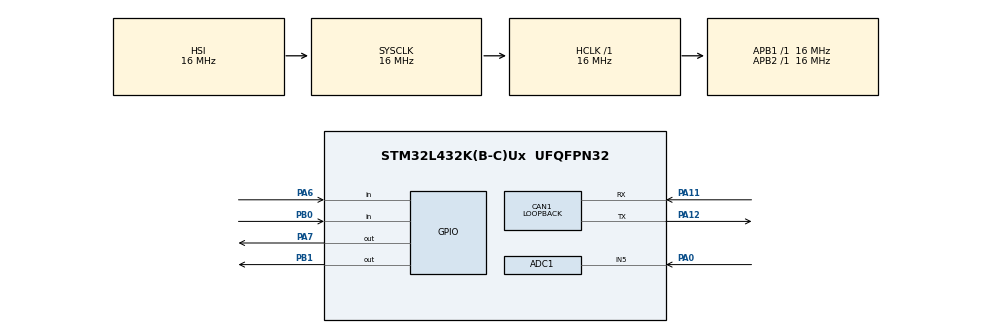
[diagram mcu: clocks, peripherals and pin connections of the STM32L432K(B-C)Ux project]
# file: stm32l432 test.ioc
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ADC1.Channel-6\#ChannelRegularConversion=ADC_CHANNEL_5
ADC1.ClockPrescaler=ADC_CLOCK_ASYNC_DIV1
ADC1.ContinuousConvMode=DISABLE
ADC1.DMAContinuousRequests=ENABLE
ADC1.EOCSelection=ADC_EOC_SINGLE_CONV
ADC1.NbrOfConversion=1
ADC1.NbrOfConversionFlag=1
ADC1.OffsetNumber-6\#ChannelRegularConversion=ADC_OFFSET_NONE
ADC1.Rank-6\#ChannelRegularConversion=1
ADC1.SamplingTime-6\#ChannelRegularConversion=ADC_SAMPLETIME_2CYCLES_5
ADC1.master=1
CAN1.CalculateTimeQuantum=1000.0
CAN1.Mode=CAN_MODE_LOOPBACK
Dma.ADC1.0.Direction=DMA_PERIPH_TO_MEMORY
Dma.ADC1.0.Instance=DMA1_Channel1
Dma.ADC1.0.MemDataAlignment=DMA_MDATAALIGN_HALFWORD
Dma.ADC1.0.MemInc=DMA_MINC_ENABLE
Dma.ADC1.0.Mode=DMA_CIRCULAR
Dma.ADC1.0.PeriphDataAlignment=DMA_PDATAALIGN_HALFWORD
Dma.ADC1.0.PeriphInc=DMA_PINC_DISABLE
Dma.ADC1.0.Priority=DMA_PRIORITY_LOW
Dma.Request0=ADC1
Mcu.Family=STM32L4
Mcu.Name=STM32L432K(B-C)Ux
Mcu.Package=UFQFPN32
NVIC.DMA1_Channel1_IRQn=true\:0\:0\:false\:false\:true\:false\:true
NVIC.PriorityGroup=NVIC_PRIORITYGROUP_4
PA0.Signal=ADCx_IN5
PA11.Mode=Master
PA11.Signal=CAN1_RX
PA12.Mode=Master
PA12.Signal=CAN1_TX
PA13\ (JTMS-SWDIO).Mode=Serial_Wire
PA13\ (JTMS-SWDIO).Signal=SYS_JTMS-SWDIO
PA14\ (JTCK-SWCLK).Mode=Serial_Wire
PA14\ (JTCK-SWCLK).Signal=SYS_JTCK-SWCLK
PA6.Signal=GPIO_Input
PA7.Signal=GPIO_Output
PB0.Signal=GPIO_Input
PB1.Signal=GPIO_Output
ProjectManager.HeapSize=0x200
ProjectManager.StackSize=0x400
ProjectManager.TargetToolchain=STM32CubeIDE
RCC.ADCCLockSelection=RCC_ADCCLKSOURCE_SYSCLK
RCC.ADCFreq_Value=16000000
RCC.AHBFreq_Value=16000000
RCC.APB1Freq_Value=16000000
RCC.APB1TimFreq_Value=16000000
RCC.APB2Freq_Value=16000000
RCC.APB2TimFreq_Value=16000000
RCC.CortexFreq_Value=16000000
RCC.HCLKFreq_Value=16000000
RCC.HSE_VALUE=8000000
RCC.HSI48_VALUE=48000000
RCC.HSI_VALUE=16000000
RCC.LSE_VALUE=32768
RCC.MSIAutoCalibration=DISABLED
RCC.MSI_VALUE=4000000
RCC.PLLSourceVirtual=RCC_PLLSOURCE_HSI
RCC.SYSCLKFreq_VALUE=16000000
RCC.SYSCLKSource=RCC_SYSCLKSOURCE_HSI
RCC.USBFreq_Value=64000000
RCC.VCOOutputFreq_Value=128000000
SH.ADCx_IN5.0=ADC1_IN5,IN5-Single-Ended
VP_LPTIM1_VS_COMP1_LPTIM.Mode=Counts_external_clock_with_synchro_01_occur2
board=custom

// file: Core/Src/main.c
/* USER CODE BEGIN Header */
/**
  ******************************************************************************
  * @file           : main.c
  * @brief          : Main program body
  ******************************************************************************
  * @attention
  *
  * <h2><center>&copy; Copyright (c) 2021 STMicroelectronics.
  * All rights reserved.</center></h2>
  *
  * This software component is licensed by ST under BSD 3-Clause license,
  * the "License"; You may not use this file except in compliance with the
  * License. You may obtain a copy of the License at:
  *                        opensource.org/licenses/BSD-3-Clause
  *
  ******************************************************************************
  */
/* USER CODE END Header */

#include "main.h"

/* USER CODE BEGIN PM */
#define ADC_BUF_SIZE 4
/* USER CODE END PM */

ADC_HandleTypeDef hadc1;
DMA_HandleTypeDef hdma_adc1;

CAN_HandleTypeDef hcan1;

LPTIM_HandleTypeDef hlptim1;

/* USER CODE BEGIN PV */
int fuseState[5];
uint16_t raw = 0;
uint16_t ADC_buffer[ADC_BUF_SIZE] = {10};
CAN_TxHeaderTypeDef TxHeader;
uint8_t TxData[8];
uint32_t TxMailbox;
CAN_RxHeaderTypeDef RxHeader;
uint8_t RxData[8];
int datacheck = 0;

CAN_FilterTypeDef canfilterconfig;

/* USER CODE END PV */

void SystemClock_Config(void);
static void MX_GPIO_Init(void);
static void MX_DMA_Init(void);
static void MX_ADC1_Init(void);
static void MX_LPTIM1_Init(void);
static void MX_CAN1_Init(void);

int main(void)
{
  /* USER CODE BEGIN 1 */
	canfilterconfig.FilterActivation = CAN_FILTER_ENABLE;
	canfilterconfig.FilterBank = 18;  // which filter bank to use from the assigned ones
	canfilterconfig.FilterFIFOAssignment = CAN_FILTER_FIFO0;
	canfilterconfig.FilterIdHigh = 0x446<<5;
	canfilterconfig.FilterIdLow = 0;
	canfilterconfig.FilterMaskIdHigh = 0x446<<5;
	canfilterconfig.FilterMaskIdLow = 0x0000;
	canfilterconfig.FilterMode = CAN_FILTERMODE_IDMASK;
	canfilterconfig.FilterScale = CAN_FILTERSCALE_32BIT;
	canfilterconfig.SlaveStartFilterBank = 20;  // how many filters to assign to the CAN1 (master can)

	HAL_CAN_ConfigFilter(&hcan1, &canfilterconfig);
  /* USER CODE END 1 */

  /* MCU Configuration--------------------------------------------------------*/

  /* Reset of all peripherals, Initializes the Flash interface and the Systick. */
  HAL_Init();

  /* USER CODE BEGIN Init */
  TxHeader.IDE = CAN_ID_STD;
  TxHeader.StdId = 0x103;
  TxHeader.RTR = CAN_RTR_DATA;
  TxHeader.DLC = 2;

  TxData[0] = 50;
  TxData[1] = 0xAA;

  /* USER CODE END Init */

  /* Configure the system clock */
  SystemClock_Config();

  /* Initialize all configured peripherals */
  MX_GPIO_Init();
  MX_DMA_Init();
  MX_ADC1_Init();
  MX_LPTIM1_Init();
  MX_CAN1_Init();
  /* USER CODE BEGIN 2 */
  if (HAL_ADC_Start_DMA(&hadc1, (uint32_t *)ADC_buffer, ADC_BUF_SIZE) != HAL_OK)
	  Error_Handler();

  /* USER CODE END 2 */

  /* Infinite loop */
  /* USER CODE BEGIN WHILE */
  while (1)
  {
	  HAL_GPIO_TogglePin(GPIOB, GPIO_PIN_1);
	  fuseState[0] = HAL_GPIO_ReadPin(GPIOB,GPIO_PIN_0);

	  HAL_CAN_AddTxMessage(&hcan1, &TxHeader, TxData, &TxMailbox);

	  HAL_ADC_Start(&hadc1);

	  if (HAL_CAN_AddTxMessage(&hcan1, &TxHeader, TxData, &TxMailbox) != HAL_OK) {
		  Error_Handler();
	  }

    /* USER CODE END WHILE */

  }
}

void SystemClock_Config(void)
{
  RCC_OscInitTypeDef RCC_OscInitStruct = {0};
  RCC_ClkInitTypeDef RCC_ClkInitStruct = {0};
  RCC_PeriphCLKInitTypeDef PeriphClkInit = {0};

  /** Initializes the CPU, AHB and APB busses clocks
  */
  RCC_OscInitStruct.OscillatorType = RCC_OSCILLATORTYPE_HSI;
  RCC_OscInitStruct.HSIState = RCC_HSI_ON;
  RCC_OscInitStruct.HSICalibrationValue = RCC_HSICALIBRATION_DEFAULT;
  RCC_OscInitStruct.PLL.PLLState = RCC_PLL_NONE;
  if (HAL_RCC_OscConfig(&RCC_OscInitStruct) != HAL_OK)
  {
    Error_Handler();
  }
  /** Initializes the CPU, AHB and APB busses clocks
  */
  RCC_ClkInitStruct.ClockType = RCC_CLOCKTYPE_HCLK|RCC_CLOCKTYPE_SYSCLK
                              |RCC_CLOCKTYPE_PCLK1|RCC_CLOCKTYPE_PCLK2;
  RCC_ClkInitStruct.SYSCLKSource = RCC_SYSCLKSOURCE_HSI;
  RCC_ClkInitStruct.AHBCLKDivider = RCC_SYSCLK_DIV1;
  RCC_ClkInitStruct.APB1CLKDivider = RCC_HCLK_DIV1;
  RCC_ClkInitStruct.APB2CLKDivider = RCC_HCLK_DIV1;

  if (HAL_RCC_ClockConfig(&RCC_ClkInitStruct, FLASH_LATENCY_0) != HAL_OK)
  {
    Error_Handler();
  }
  PeriphClkInit.PeriphClockSelection = RCC_PERIPHCLK_LPTIM1|RCC_PERIPHCLK_ADC;
  PeriphClkInit.Lptim1ClockSelection = RCC_LPTIM1CLKSOURCE_PCLK;
  PeriphClkInit.AdcClockSelection = RCC_ADCCLKSOURCE_SYSCLK;
  if (HAL_RCCEx_PeriphCLKConfig(&PeriphClkInit) != HAL_OK)
  {
    Error_Handler();
  }
  /** Configure the main internal regulator output voltage
  */
  if (HAL_PWREx_ControlVoltageScaling(PWR_REGULATOR_VOLTAGE_SCALE1) != HAL_OK)
  {
    Error_Handler();
  }
}

static void MX_ADC1_Init(void)
{

  ADC_ChannelConfTypeDef sConfig = {0};

  /** Common config
  */
  hadc1.Instance = ADC1;
  hadc1.Init.ClockPrescaler = ADC_CLOCK_ASYNC_DIV1;
  hadc1.Init.Resolution = ADC_RESOLUTION_12B;
  hadc1.Init.DataAlign = ADC_DATAALIGN_RIGHT;
  hadc1.Init.ScanConvMode = ADC_SCAN_DISABLE;
  hadc1.Init.EOCSelection = ADC_EOC_SINGLE_CONV;
  hadc1.Init.LowPowerAutoWait = DISABLE;
  hadc1.Init.ContinuousConvMode = DISABLE;
  hadc1.Init.NbrOfConversion = 1;
  hadc1.Init.DiscontinuousConvMode = DISABLE;
  hadc1.Init.NbrOfDiscConversion = 1;
  hadc1.Init.ExternalTrigConv = ADC_SOFTWARE_START;
  hadc1.Init.ExternalTrigConvEdge = ADC_EXTERNALTRIGCONVEDGE_NONE;
  hadc1.Init.DMAContinuousRequests = ENABLE;
  hadc1.Init.Overrun = ADC_OVR_DATA_PRESERVED;
  hadc1.Init.OversamplingMode = DISABLE;
  if (HAL_ADC_Init(&hadc1) != HAL_OK)
  {
    Error_Handler();
  }
  /** Configure Regular Channel
  */
  sConfig.Channel = ADC_CHANNEL_5;
  sConfig.Rank = ADC_REGULAR_RANK_1;
  sConfig.SamplingTime = ADC_SAMPLETIME_2CYCLES_5;
  sConfig.SingleDiff = ADC_SINGLE_ENDED;
  sConfig.OffsetNumber = ADC_OFFSET_NONE;
  sConfig.Offset = 0;
  if (HAL_ADC_ConfigChannel(&hadc1, &sConfig) != HAL_OK)
  {
    Error_Handler();
  }

}

static void MX_CAN1_Init(void)
{

  hcan1.Instance = CAN1;
  hcan1.Init.Prescaler = 16;
  hcan1.Init.Mode = CAN_MODE_LOOPBACK;
  hcan1.Init.SyncJumpWidth = CAN_SJW_1TQ;
  hcan1.Init.TimeSeg1 = CAN_BS1_1TQ;
  hcan1.Init.TimeSeg2 = CAN_BS2_1TQ;
  hcan1.Init.TimeTriggeredMode = DISABLE;
  hcan1.Init.AutoBusOff = DISABLE;
  hcan1.Init.AutoWakeUp = DISABLE;
  hcan1.Init.AutoRetransmission = DISABLE;
  hcan1.Init.ReceiveFifoLocked = DISABLE;
  hcan1.Init.TransmitFifoPriority = DISABLE;
  if (HAL_CAN_Init(&hcan1) != HAL_OK)
  {
    Error_Handler();
  }

}

static void MX_LPTIM1_Init(void)
{

  hlptim1.Instance = LPTIM1;
  hlptim1.Init.Clock.Source = LPTIM_CLOCKSOURCE_APBCLOCK_LPOSC;
  hlptim1.Init.Clock.Prescaler = LPTIM_PRESCALER_DIV1;
  hlptim1.Init.UltraLowPowerClock.Polarity = LPTIM_CLOCKPOLARITY_RISING;
  hlptim1.Init.UltraLowPowerClock.SampleTime = LPTIM_CLOCKSAMPLETIME_DIRECTTRANSITION;
  hlptim1.Init.Trigger.Source = LPTIM_TRIGSOURCE_SOFTWARE;
  hlptim1.Init.OutputPolarity = LPTIM_OUTPUTPOLARITY_HIGH;
  hlptim1.Init.UpdateMode = LPTIM_UPDATE_IMMEDIATE;
  hlptim1.Init.CounterSource = LPTIM_COUNTERSOURCE_EXTERNAL;
  hlptim1.Init.Input1Source = LPTIM_INPUT1SOURCE_COMP1;
  hlptim1.Init.Input2Source = LPTIM_INPUT2SOURCE_GPIO;
  if (HAL_LPTIM_Init(&hlptim1) != HAL_OK)
  {
    Error_Handler();
  }

}

static void MX_DMA_Init(void)
{

  /* DMA controller clock enable */
  __HAL_RCC_DMA1_CLK_ENABLE();

  /* DMA interrupt init */
  /* DMA1_Channel1_IRQn interrupt configuration */
  HAL_NVIC_SetPriority(DMA1_Channel1_IRQn, 0, 0);
  HAL_NVIC_EnableIRQ(DMA1_Channel1_IRQn);

}

static void MX_GPIO_Init(void)
{
  GPIO_InitTypeDef GPIO_InitStruct = {0};

  /* GPIO Ports Clock Enable */
  __HAL_RCC_GPIOA_CLK_ENABLE();
  __HAL_RCC_GPIOB_CLK_ENABLE();

  /*Configure GPIO pin Output Level */
  HAL_GPIO_WritePin(GPIOA, GPIO_PIN_7, GPIO_PIN_RESET);

  /*Configure GPIO pin Output Level */
  HAL_GPIO_WritePin(GPIOB, GPIO_PIN_1, GPIO_PIN_RESET);

  /*Configure GPIO pin : PA6 */
  GPIO_InitStruct.Pin = GPIO_PIN_6;
  GPIO_InitStruct.Mode = GPIO_MODE_INPUT;
  GPIO_InitStruct.Pull = GPIO_NOPULL;
  HAL_GPIO_Init(GPIOA, &GPIO_InitStruct);

  /*Configure GPIO pin : PA7 */
  GPIO_InitStruct.Pin = GPIO_PIN_7;
  GPIO_InitStruct.Mode = GPIO_MODE_OUTPUT_PP;
  GPIO_InitStruct.Pull = GPIO_NOPULL;
  GPIO_InitStruct.Speed = GPIO_SPEED_FREQ_LOW;
  HAL_GPIO_Init(GPIOA, &GPIO_InitStruct);

  /*Configure GPIO pin : PB0 */
  GPIO_InitStruct.Pin = GPIO_PIN_0;
  GPIO_InitStruct.Mode = GPIO_MODE_INPUT;
  GPIO_InitStruct.Pull = GPIO_NOPULL;
  HAL_GPIO_Init(GPIOB, &GPIO_InitStruct);

  /*Configure GPIO pin : PB1 */
  GPIO_InitStruct.Pin = GPIO_PIN_1;
  GPIO_InitStruct.Mode = GPIO_MODE_OUTPUT_PP;
  GPIO_InitStruct.Pull = GPIO_NOPULL;
  GPIO_InitStruct.Speed = GPIO_SPEED_FREQ_LOW;
  HAL_GPIO_Init(GPIOB, &GPIO_InitStruct);

}

/* USER CODE BEGIN 4 */
void HAL_ADC_ConvHalfCpltCallback(ADC_HandleTypeDef* hadc){
}
void HAL_ADC_ConvCpltCallback(ADC_HandleTypeDef* hadc){
	raw = raw < ADC_buffer[0] ? ADC_buffer[0] : raw;
}
void HAL_CAN_RxFifo0MsgPendingCallback(CAN_HandleTypeDef *hcan)
{
  if (HAL_CAN_GetRxMessage(hcan, CAN_RX_FIFO0, &RxHeader, RxData) != HAL_OK)
  {
    Error_Handler();
  }

  if ((RxHeader.StdId == 0x103))
  {
	  datacheck = 1;
  }
}
/* USER CODE END 4 */

void Error_Handler(void)
{
}

/************************ (C) COPYRIGHT STMicroelectronics *****END OF FILE****/
